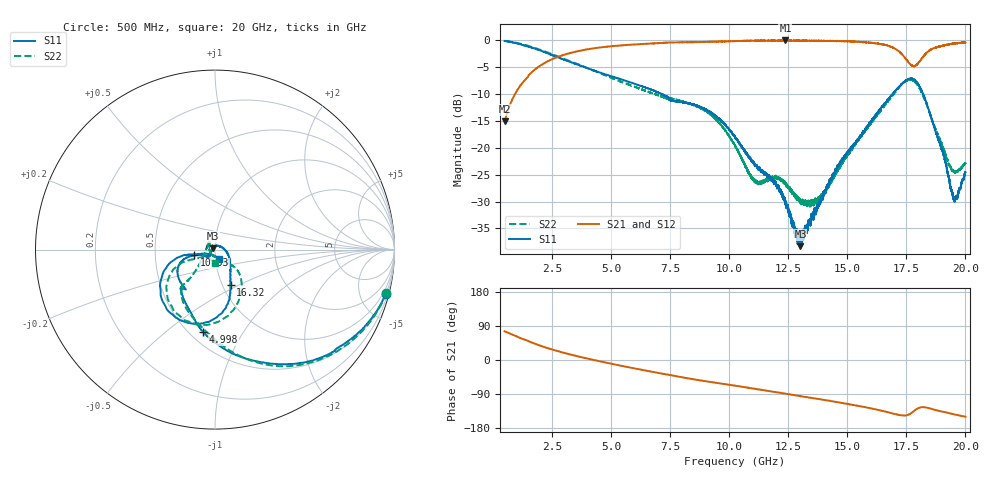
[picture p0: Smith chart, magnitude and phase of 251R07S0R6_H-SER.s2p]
!{201R07S0R6}
!Johanson Technology Inc.
!www.johansontechnology.com
!Test Board Conditions:
!Substrate Type  RO4350B
!Substrate Thickness  10 mil
!Substrate Dk  3.66
!TL Type: GCPW
!TL Trace Width  21 mil
!TL Gap  20 mil
!Electrode orientation  Horizontal
!DUT TOPOLOGY	SERIES
!Mounting Pad LxW  16x21 mil
!Agilent Technologies,N5230A,MY45001966,A.07.50.67
!Agilent N5230A: A.07.50.67
! Created Mon Mar  9 16:16:14 2020
# mhz S ma R 50
! 2 Port Network Data from SP1.SP block
! freq  magS11  angS11  magS21  angS21  magS12  angS12  magS22  angS22
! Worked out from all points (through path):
!   19501 points, 500 MHz to 20 GHz, reference 50 ohm
!   highest |S21| = -0.07 dB at 12.38 GHz (marker M1); lowest = -15.1 dB at 500 MHz (marker M2)
!   lowest |S11| = -38.3 dB at 13.02 GHz (marker M3), VSWR 1.02, Z = 49 + j0.629 ohm
!   |S11| at or under -10 dB: 7.134 GHz to 16.92 GHz (9.79 GHz wide, 81.4 % of centre); 18.20476 GHz to 18.20541 GHz (652.1 kHz wide, 0.00358 % of centre); 18.21 GHz to end of sweep
!   |S22| runs from -30.9 to -0.1 dB; largest |S21 - S12| = 0.015
!   S11 on the Smith chart (normalised r, x): 500 MHz: 0.55, -7.80; 4.998 GHz: 0.58, -0.68; 10.33 GHz: 0.79, -0.05; 16.32 GHz: 1.09, -0.46; 20 GHz: 1.04, -0.11
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500  0.9824 -14.5  0.1755 75.7  0.176 75.9  0.9841 -14.3
1061  0.928 -29.3  0.3495 60.6  0.3491 60.6  0.9366 -29.1
1892  0.8178 -49.3  0.5559 40.5  0.5569 40.6  0.8292 -49.1
3750  0.5749 -82.1  0.8009 7.2  0.8018 7.3  0.5782 -80.4
4998  0.4637 -98.2  0.8755 -9.6  0.8755 -9.5  0.4473 -98.0
7000  0.3262 -122.2  0.9378 -34.1  0.9375 -34.2  0.3073 -127.7
9015  0.2248 -154.8  0.9624 -56.1  0.9624 -56.2  0.2188 -131.0
10250  0.126 -164.5  0.9775 -67.7  0.9786 -67.7  0.1051 -139.8
10329  0.1186 -164.7  0.9807 -68.5  0.9782 -68.4  0.09717 -141.5
11142  0.06875 -149.0  0.9865 -76.5  0.9882 -76.5  0.04798 171.0
12383  0.03101 -138.0  0.9922 -88.9  0.9899 -89.1  0.04645 132.7
12853  0.01691 172.4  0.9874 -93.6  0.9884 -93.7  0.03536 157.0
13017  0.01218 148.2  0.9904 -95.3  0.9858 -95.4  0.03247 170.0
13500  0.0224 72.6  0.9897 -100.3  0.9848 -100.2  0.03078 -145.1
14670  0.06933 -14.2  0.9807 -112.1  0.9767 -112.3  0.0656 -60.8
16315  0.2171 -66.2  0.927 -131.7  0.9214 -131.6  0.2071 -46.8
16750  0.2824 -73.5  0.885 -138.2  0.8745 -138.1  0.2759 -57.8
17489  0.4223 -102.4  0.6629 -146.0  0.6632 -145.6  0.4172 -94.0
17895  0.4157 -132.7  0.5808 -131.3  0.583 -130.8  0.4017 -126.3
18484  0.2132 -167.9  0.8018 -127.7  0.8048 -127.6  0.2111 -158.0
19491  0.03392 -122.2  0.93 -143.0  0.9299 -142.5  0.06024 -124.9
20000  0.0594 -66.5  0.9512 -149.8  0.9512 -149.8  0.07194 -91.7
